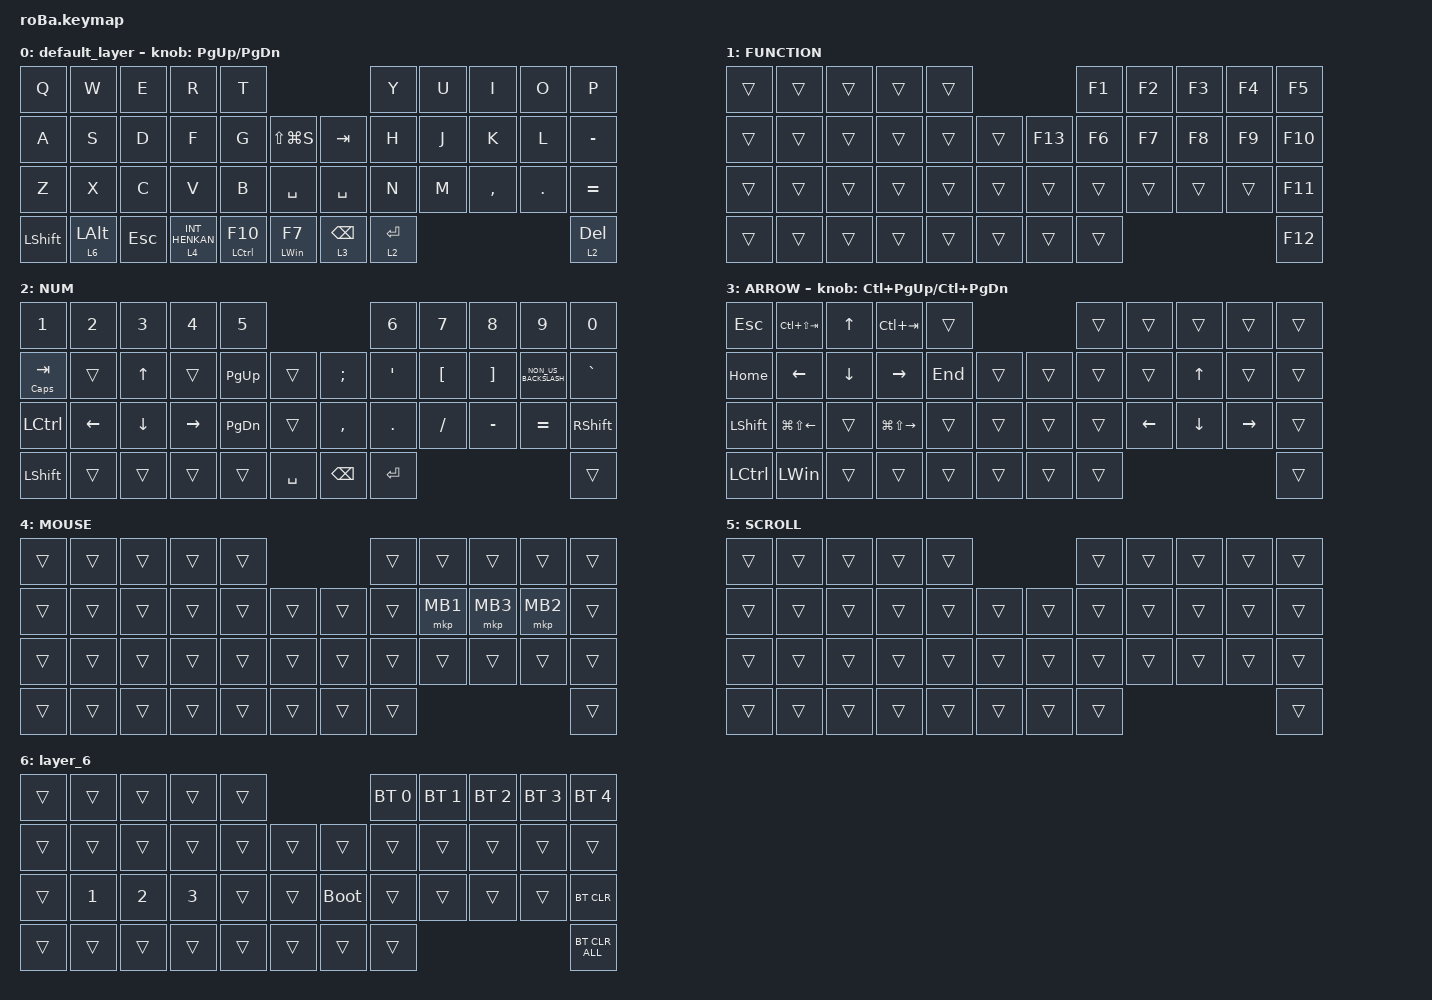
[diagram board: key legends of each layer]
#include <behaviors.dtsi>
#include <dt-bindings/zmk/bt.h>
#include <dt-bindings/zmk/keys.h>
#include <dt-bindings/zmk/pointing.h>

&mt {
    flavor = "balanced";
    quick-tap-ms = <0>;
};

&trackball {
    automouse-layer = <4>;
    scroll-layers = <5>;

    // arrows {
    //     layers = <3>;
    //     bindings =
    //         <&kp RIGHT_ARROW>,
    //         <&kp LEFT_ARROW>,
    //         <&kp UP_ARROW>,
    //         <&kp DOWN_ARROW>;
    //     tick = <10>;
    //     wait-ms = <5>;
    //     tap-ms = <5>;
    // };
};

/ {
    combos {
        compatible = "zmk,combos";

        tab {
            bindings = <&kp TAB>;
            key-positions = <11 12>;
        };

        shift_tab {
            bindings = <&kp LS(TAB)>;
            key-positions = <12 13>;
        };

        muhennkann {
            bindings = <&to_layer_0 INT_MUHENKAN>;
            key-positions = <11 10>;
        };

        double_quotation {
            bindings = <&kp DOUBLE_QUOTES>;
            key-positions = <20 21>;
        };

        eq {
            bindings = <&kp EQUAL>;
            key-positions = <24 25>;
        };
    };

    macros {
        to_layer_0: to_layer_0 {
            compatible = "zmk,behavior-macro-one-param";
            #binding-cells = <1>;
            bindings = <&to 0 &macro_param_1to1 &kp MACRO_PLACEHOLDER>;
            label = "TO_LAYER_0";
        };
    };

    behaviors {
        lt_to_layer_0: lt_to_layer_0 {
            compatible = "zmk,behavior-hold-tap";
            label = "LAYER_TAP_TO_0";
            bindings = <&mo>, <&to_layer_0>;

            #binding-cells = <2>;
            tapping-term-ms = <200>;
        };
    };

    keymap {
        compatible = "zmk,keymap";

        default_layer {
            bindings = <
&kp Q           &kp W                      &kp E       &kp R                        &kp T                                                           &kp Y                    &kp U  &kp I      &kp O       &kp P
&kp A           &kp S                      &kp D       &kp F                        &kp G          &kp LS(LG(S))        &kp TAB                     &kp H                    &kp J  &kp K      &kp L       &kp MINUS
&kp Z           &kp X                      &kp C       &kp V                        &kp B          &kp SPACE            &kp SPACE                   &kp N                    &kp M  &kp COMMA  &kp PERIOD  &kp EQUAL
&kp LEFT_SHIFT  &lt_to_layer_0 6 LEFT_ALT  &kp ESCAPE  &lt_to_layer_0 4 INT_HENKAN  &mt LCTRL F10  &mt LEFT_WIN F7      &lt_to_layer_0 3 BACKSPACE  &lt_to_layer_0 2 RETURN                                &lt_to_layer_0 2 DEL
            >;

            sensor-bindings = <&inc_dec_kp PG_UP PAGE_DOWN>;
        };

        FUNCTION {
            bindings = <
&trans  &trans  &trans  &trans  &trans                       &kp F1  &kp F2  &kp F3  &kp F4  &kp F5
&trans  &trans  &trans  &trans  &trans  &trans      &kp F13  &kp F6  &kp F7  &kp F8  &kp F9  &kp F10
&trans  &trans  &trans  &trans  &trans  &trans      &trans   &trans  &trans  &trans  &trans  &kp F11
&trans  &trans  &trans  &trans  &trans  &trans      &trans   &trans                          &kp F12
            >;
        };

        NUM {
            bindings = <
&kp NUMBER_1    &kp NUMBER_2  &kp N3          &kp N4     &kp NUMBER_5                                 &kp N6      &kp NUMBER_7      &kp NUMBER_8       &kp NUMBER_9          &kp NUMBER_0
&mt CLCK TAB    &trans        &kp UP_ARROW    &trans     &kp PG_UP      &trans         &kp SEMICOLON  &kp SQT     &kp LEFT_BRACKET  &kp RIGHT_BRACKET  &kp NON_US_BACKSLASH  &kp GRAVE
&kp LCTRL       &kp LEFT      &kp DOWN_ARROW  &kp RIGHT  &kp PAGE_DOWN  &trans         &kp COMMA      &kp PERIOD  &kp SLASH         &kp MINUS          &kp EQUAL             &kp RIGHT_SHIFT
&kp LEFT_SHIFT  &trans        &trans          &trans     &trans         &kp SPACE      &kp BACKSPACE  &kp RET                                                                &trans
            >;
        };

        ARROW {
            bindings = <
&kp ESCAPE      &kp LC(LS(TAB))         &kp UP_ARROW    &kp LC(TAB)              &trans                       &trans  &trans          &trans          &trans     &trans
&kp HOME        &kp LEFT_ARROW          &kp DOWN_ARROW  &kp RIGHT_ARROW          &kp END  &trans      &trans  &trans  &trans          &kp UP_ARROW    &trans     &trans
&kp LEFT_SHIFT  &kp LG(LS(LEFT_ARROW))  &trans          &kp LG(LS(RIGHT_ARROW))  &trans   &trans      &trans  &trans  &kp LEFT_ARROW  &kp DOWN_ARROW  &kp RIGHT  &trans
&kp LCTRL       &kp LEFT_WIN            &trans          &trans                   &trans   &trans      &trans  &trans                                             &trans
            >;

            sensor-bindings = <&inc_dec_kp LC(PAGE_UP) LC(PAGE_DOWN)>;
        };

        MOUSE {
            bindings = <
&trans  &trans  &trans  &trans  &trans                      &trans  &trans    &trans    &trans    &trans
&trans  &trans  &trans  &trans  &trans  &trans      &trans  &trans  &mkp MB1  &mkp MB3  &mkp MB2  &trans
&trans  &trans  &trans  &trans  &trans  &trans      &trans  &trans  &trans    &trans    &trans    &trans
&trans  &trans  &trans  &trans  &trans  &trans      &trans  &trans                                &trans
            >;
        };

        SCROLL {
            bindings = <
&trans  &trans  &trans  &trans  &trans                      &trans  &trans  &trans  &trans  &trans
&trans  &trans  &trans  &trans  &trans  &trans      &trans  &trans  &trans  &trans  &trans  &trans
&trans  &trans  &trans  &trans  &trans  &trans      &trans  &trans  &trans  &trans  &trans  &trans
&trans  &trans  &trans  &trans  &trans  &trans      &trans  &trans                          &trans
            >;
        };

        layer_6 {
            bindings = <
&trans  &trans        &trans        &trans        &trans                           &bt BT_SEL 0  &bt BT_SEL 1  &bt BT_SEL 2  &bt BT_SEL 3  &bt BT_SEL 4
&trans  &trans        &trans        &trans        &trans  &trans      &trans       &trans        &trans        &trans        &trans        &trans
&trans  &kp NUMBER_1  &kp NUMBER_2  &kp NUMBER_3  &trans  &trans      &bootloader  &trans        &trans        &trans        &trans        &bt BT_CLR
&trans  &trans        &trans        &trans        &trans  &trans      &trans       &trans                                                  &bt BT_CLR_ALL
            >;
        };
    };
};
